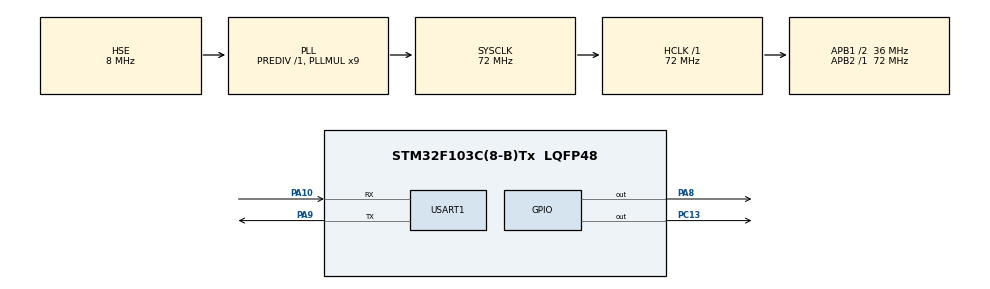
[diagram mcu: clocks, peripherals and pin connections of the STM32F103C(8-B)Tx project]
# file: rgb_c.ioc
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Dma.Request0=USART1_RX
Dma.Request1=USART1_TX
Dma.USART1_RX.0.Direction=DMA_PERIPH_TO_MEMORY
Dma.USART1_RX.0.Instance=DMA1_Channel5
Dma.USART1_RX.0.MemDataAlignment=DMA_MDATAALIGN_BYTE
Dma.USART1_RX.0.MemInc=DMA_MINC_ENABLE
Dma.USART1_RX.0.Mode=DMA_NORMAL
Dma.USART1_RX.0.PeriphDataAlignment=DMA_PDATAALIGN_BYTE
Dma.USART1_RX.0.PeriphInc=DMA_PINC_DISABLE
Dma.USART1_RX.0.Priority=DMA_PRIORITY_LOW
Dma.USART1_TX.1.Direction=DMA_MEMORY_TO_PERIPH
Dma.USART1_TX.1.Instance=DMA1_Channel4
Dma.USART1_TX.1.MemDataAlignment=DMA_MDATAALIGN_BYTE
Dma.USART1_TX.1.MemInc=DMA_MINC_ENABLE
Dma.USART1_TX.1.Mode=DMA_NORMAL
Dma.USART1_TX.1.PeriphDataAlignment=DMA_PDATAALIGN_BYTE
Dma.USART1_TX.1.PeriphInc=DMA_PINC_DISABLE
Dma.USART1_TX.1.Priority=DMA_PRIORITY_LOW
Mcu.Family=STM32F1
Mcu.Name=STM32F103C(8-B)Tx
Mcu.Package=LQFP48
NVIC.DMA1_Channel4_IRQn=true\:0\:0\:false\:false\:true\:false\:true\:true
NVIC.DMA1_Channel5_IRQn=true\:0\:0\:false\:false\:true\:false\:true\:true
NVIC.PriorityGroup=NVIC_PRIORITYGROUP_4
NVIC.USART1_IRQn=true\:0\:0\:false\:false\:true\:false\:true\:true
PA10.Mode=Asynchronous
PA10.Signal=USART1_RX
PA13.Mode=Serial_Wire
PA13.Signal=SYS_JTMS-SWDIO
PA14.Mode=Serial_Wire
PA14.Signal=SYS_JTCK-SWCLK
PA8.GPIO_PuPd=GPIO_PULLDOWN
PA8.Signal=GPIO_Output
PA9.Mode=Asynchronous
PA9.Signal=USART1_TX
PC13-TAMPER-RTC.Signal=GPIO_Output
PC14-OSC32_IN.Mode=LSE-External-Oscillator
PC14-OSC32_IN.Signal=RCC_OSC32_IN
PC15-OSC32_OUT.Mode=LSE-External-Oscillator
PC15-OSC32_OUT.Signal=RCC_OSC32_OUT
PD0-OSC_IN.Mode=HSE-External-Oscillator
PD0-OSC_IN.Signal=RCC_OSC_IN
PD1-OSC_OUT.Mode=HSE-External-Oscillator
PD1-OSC_OUT.Signal=RCC_OSC_OUT
ProjectManager.HeapSize=0x200
ProjectManager.StackSize=0x400
ProjectManager.TargetToolchain=MDK-ARM V5.32
RCC.AHBFreq_Value=72000000
RCC.APB1CLKDivider=RCC_HCLK_DIV2
RCC.APB1Freq_Value=36000000
RCC.APB1TimFreq_Value=72000000
RCC.APB2Freq_Value=72000000
RCC.APB2TimFreq_Value=72000000
RCC.HCLKFreq_Value=72000000
RCC.PLLMUL=RCC_PLL_MUL9
RCC.PLLSourceVirtual=RCC_PLLSOURCE_HSE
RCC.SYSCLKFreq_VALUE=72000000
RCC.SYSCLKSource=RCC_SYSCLKSOURCE_PLLCLK
RCC.USBFreq_Value=72000000
USART1.VirtualMode=VM_ASYNC
board=custom

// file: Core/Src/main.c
/* USER CODE BEGIN Header */
/**
 ******************************************************************************
 * @file           : main.c
 * @brief          : Main program body
 ******************************************************************************
 * @attention
 *
 * Copyright (c) 2024 STMicroelectronics.
 * All rights reserved.
 *
 * This software is licensed under terms that can be found in the LICENSE file
 * in the root directory of this software component.
 * If no LICENSE file comes with this software, it is provided AS-IS.
 *
 ******************************************************************************
 */
/* USER CODE END Header */
#include "main.h"
#include "dma.h"
#include "usart.h"
#include "gpio.h"

/* USER CODE BEGIN Includes */
#include "rgb_WS2812B.h"
/* USER CODE END Includes */

/* USER CODE BEGIN PM */
/*
串口接收中断回调函数
*/
uint8_t Rx_data[200] = {0};
char received_string[256];
extern DMA_HandleTypeDef hdma_usart1_rx;

void HAL_UARTEx_RxEventCallback(UART_HandleTypeDef *huart, uint16_t Size)
{
  if (huart == &huart1)
  {

    strcpy(received_string, (char *)Rx_data);
    fprintf(stdout, "%s\r\n", received_string); // 将串��??1接收到的数据返回到串��??1
    memset(Rx_data, 0, sizeof(Rx_data));
    HAL_UARTEx_ReceiveToIdle_DMA(huart, Rx_data, sizeof(Rx_data) - 1);
    __HAL_DMA_DISABLE_IT(&hdma_usart1_rx, DMA_IT_HT);
  }
}

/* USER CODE END PM */

extern uint8_t led_color[MAX_LED_NUM][3];

void SystemClock_Config(void);

int main(void)
{

  /* MCU Configuration--------------------------------------------------------*/

  /* Reset of all peripherals, Initializes the Flash interface and the Systick. */
  HAL_Init();

  /* Configure the system clock */
  SystemClock_Config();

  /* Initialize all configured peripherals */
  MX_GPIO_Init();
  MX_DMA_Init();
  MX_USART1_UART_Init();
  /* USER CODE BEGIN 2 */
  HAL_UARTEx_ReceiveToIdle_DMA(&huart1, Rx_data, 200 - 1); // 启用空闲中断接收
  __HAL_DMA_DISABLE_IT(&hdma_usart1_rx, DMA_IT_HT);        // 关闭DMA传输过半中断

  /* USER CODE END 2 */

  /* Infinite loop */
  /* USER CODE BEGIN WHILE */
  memset(led_color, 0, sizeof(led_color));

  while (1)
  {
    /* USER CODE END WHILE */

    /* USER CODE BEGIN 3 */
    uint8_t temp[3];
    // for (uint8_t i = 0; i < MAX_LED_NUM; i++)
    // {
    //   write_all_led_color(255);
    //   HSVtoRGB(0, 100, 100, &temp[0], &temp[1], &temp[2]);
    //   set_led_color(i, temp[0], temp[1], temp[2]);
    //   set_all_led_color(led_color);
    //   HAL_Delay(100);
    // }
    // for (uint8_t i = 0; i < 100; i++)
    // {
    //   write_all_led_color(255);
    //   HSVtoRGB(i, 100, 100, &temp[0], &temp[1], &temp[2]);
    //   set_all_led_one_color(temp[0], temp[1], temp[2]);
    //   set_all_led_color(led_color);
    //   HAL_Delay(10);
    // }
    HSVtoRGB(3, 50, 100, &temp[0], &temp[1], &temp[2]);
    set_all_led_one_color(temp[0], temp[1], temp[2]);
    set_all_led_color(led_color);
    HAL_GPIO_TogglePin(GPIOC, GPIO_PIN_13);
    HAL_Delay(30);
  }

  /* USER CODE END 3 */
}

void SystemClock_Config(void)
{
  RCC_OscInitTypeDef RCC_OscInitStruct = {0};
  RCC_ClkInitTypeDef RCC_ClkInitStruct = {0};

  /** Initializes the RCC Oscillators according to the specified parameters
   * in the RCC_OscInitTypeDef structure.
   */
  RCC_OscInitStruct.OscillatorType = RCC_OSCILLATORTYPE_HSE;
  RCC_OscInitStruct.HSEState = RCC_HSE_ON;
  RCC_OscInitStruct.HSEPredivValue = RCC_HSE_PREDIV_DIV1;
  RCC_OscInitStruct.HSIState = RCC_HSI_ON;
  RCC_OscInitStruct.PLL.PLLState = RCC_PLL_ON;
  RCC_OscInitStruct.PLL.PLLSource = RCC_PLLSOURCE_HSE;
  RCC_OscInitStruct.PLL.PLLMUL = RCC_PLL_MUL9;
  if (HAL_RCC_OscConfig(&RCC_OscInitStruct) != HAL_OK)
  {
    Error_Handler();
  }

  /** Initializes the CPU, AHB and APB buses clocks
   */
  RCC_ClkInitStruct.ClockType = RCC_CLOCKTYPE_HCLK | RCC_CLOCKTYPE_SYSCLK | RCC_CLOCKTYPE_PCLK1 | RCC_CLOCKTYPE_PCLK2;
  RCC_ClkInitStruct.SYSCLKSource = RCC_SYSCLKSOURCE_PLLCLK;
  RCC_ClkInitStruct.AHBCLKDivider = RCC_SYSCLK_DIV1;
  RCC_ClkInitStruct.APB1CLKDivider = RCC_HCLK_DIV2;
  RCC_ClkInitStruct.APB2CLKDivider = RCC_HCLK_DIV1;

  if (HAL_RCC_ClockConfig(&RCC_ClkInitStruct, FLASH_LATENCY_2) != HAL_OK)
  {
    Error_Handler();
  }
}

void Error_Handler(void)
{
  __disable_irq();
  while (1)
  {
  }
}
